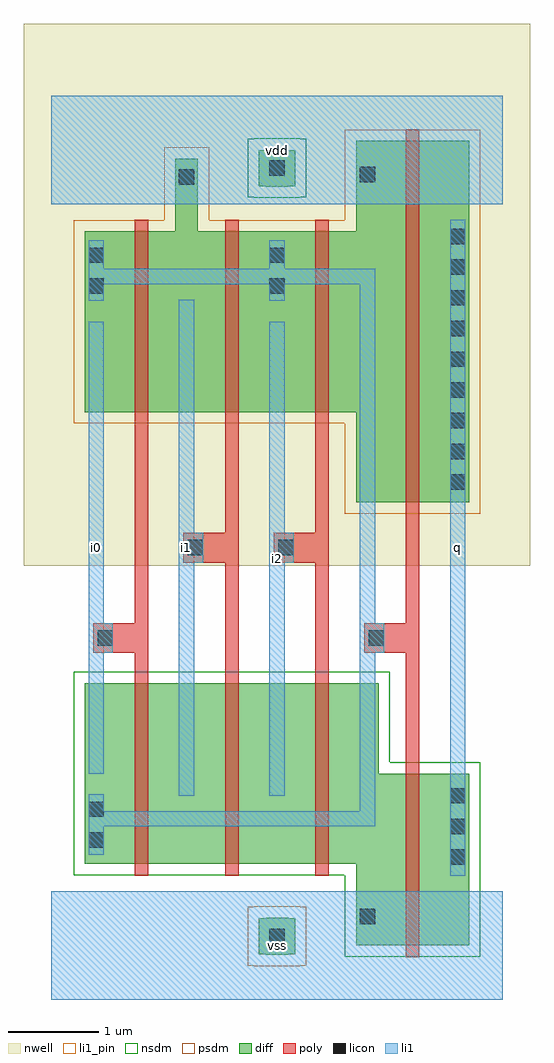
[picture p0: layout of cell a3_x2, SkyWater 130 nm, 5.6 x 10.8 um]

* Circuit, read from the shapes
.subckt a3_x2 i0 i1 i2 q vdd vss
XM1 n1 i0 n2 VSUBS sky130_fd_pr__nfet_01v8 w=2 l=0.15
XM2 n3 i1 n1 VSUBS sky130_fd_pr__nfet_01v8 w=2 l=0.15
XM3 vss i2 n3 VSUBS sky130_fd_pr__nfet_01v8 w=2 l=0.15
XM4 q n2 vss VSUBS sky130_fd_pr__nfet_01v8 w=1.9 l=0.15
XM5 vdd i0 n2 n4 sky130_fd_pr__pfet_01v8 w=2 l=0.15
XM6 n2 i1 vdd n4 sky130_fd_pr__pfet_01v8 w=2 l=0.15
XM7 vdd i2 n2 n4 sky130_fd_pr__pfet_01v8 w=2 l=0.15
XM8 q n2 vdd n4 sky130_fd_pr__pfet_01v8 w=4 l=0.15
.ends

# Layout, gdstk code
import gdstk
lib = gdstk.Library(unit=1e-6, precision=1e-09)
def R(c, l, rs):  # rectangles x0, y0, x1, y1
    for r in rs: c.add(gdstk.rectangle(r[:2], r[2:], *l))
def A(c, l, x, y, w, h, nx, ny, dx, dy):  # array of equal rectangles
    R(c, l, [(x+i*dx, y+j*dy, x+i*dx+w, y+j*dy+h) for i in range(nx) for j in range(ny)])
def P(c, l, *ps):  # polygons
    for p in ps: c.add(gdstk.Polygon(p, *l))
nwell = (64, 20)
diff = (65, 20)
poly = (66, 20)
licon = (66, 44)
li1_pin = (67, 16)
li1 = (67, 20)
nsdm = (93, 44)
psdm = (94, 20)

a3_x2 = lib.new_cell('a3_x2')
R(a3_x2, nwell, [(-0.3,4.8,5.3,10.8)])
P(a3_x2, diff, [(2.375,0.495),(2.375,0.5),(2.3,0.5),(2.3,0.9),(2.375,0.9),(2.375,0.905),(2.625,0.905),(2.625,0.9),(2.7,0.9),(2.7,0.5),(2.625,0.5),(2.625,0.495)],
  [(3.375,0.6),(3.375,1.5),(0.375,1.5),(0.375,3.5),(3.625,3.5),(3.625,2.5),(4.625,2.5),(4.625,0.6)],
  [(2.375,8.995),(2.375,9),(2.3,9),(2.3,9.4),(2.375,9.4),(2.375,9.405),(2.625,9.405),(2.625,9.4),(2.7,9.4),(2.7,9),(2.625,9),(2.625,8.995)],
  [(3.375,5.5),(3.375,6.5),(0.375,6.5),(0.375,8.5),(1.375,8.5),(1.375,9.305),(1.625,9.305),(1.625,8.5),(3.375,8.5),(3.375,9.5),(4.625,9.5),(4.625,5.5)])
P(a3_x2, poly, [(0.925,1.37),(0.925,3.835),(0.465,3.835),(0.465,4.165),(0.925,4.165),(0.925,8.63),(1.075,8.63),(1.075,1.37)],
  [(1.925,1.37),(1.925,4.835),(1.465,4.835),(1.465,5.165),(1.925,5.165),(1.925,8.63),(2.075,8.63),(2.075,1.37)],
  [(2.925,1.37),(2.925,4.835),(2.465,4.835),(2.465,5.165),(2.925,5.165),(2.925,8.63),(3.075,8.63),(3.075,1.37)],
  [(3.925,0.47),(3.925,3.835),(3.465,3.835),(3.465,4.165),(3.925,4.165),(3.925,9.63),(4.075,9.63),(4.075,0.47)])
A(a3_x2, licon, 4.415, 1.49, 0.17, 0.17, 1, 3, 0, 0.34)
A(a3_x2, licon, 4.415, 5.64, 0.17, 0.17, 1, 9, 0, 0.34)
R(a3_x2, licon, [(2.415,0.615,2.585,0.785), (3.415,0.835,3.585,1.005), (0.415,1.68,0.585,1.85), (0.415,2.02,0.585,2.19), (0.515,3.915,0.685,4.085), (3.515,3.915,3.685,4.085), (1.515,4.915,1.685,5.085), (2.515,4.915,2.685,5.085), (0.415,7.81,0.585,7.98), (2.415,7.81,2.585,7.98), (0.415,8.15,0.585,8.32), (2.415,8.15,2.585,8.32), (1.415,9.015,1.585,9.185), (3.415,9.045,3.585,9.215), (2.415,9.115,2.585,9.285)])
R(a3_x2, li1_pin, [(0,0,5,1.2), (4.415,1.37,4.585,8.63), (1.415,2.255,1.585,7.745), (2.415,2.255,2.585,7.5), (0.415,2.5,0.585,7.5), (0,8.8,5,10)])
R(a3_x2, li1, [(0,0,5,1.2), (4.415,1.37,4.585,8.63), (0,8.8,5,10)])
P(a3_x2, li1, [(0.415,2.5),(0.415,7.5),(0.585,7.5),(0.585,4.165),(0.685,4.165),(0.685,3.835),(0.585,3.835),(0.585,2.5)],
  [(2.415,2.255),(2.415,7.5),(2.585,7.5),(2.585,5.165),(2.685,5.165),(2.685,4.835),(2.585,4.835),(2.585,2.255)],
  [(1.415,2.255),(1.415,7.745),(1.585,7.745),(1.585,5.165),(1.685,5.165),(1.685,4.835),(1.585,4.835),(1.585,2.255)],
  [(0.415,1.6),(0.415,2.27),(0.585,2.27),(0.585,2.085),(3.415,2.085),(3.415,7.915),(2.585,7.915),(2.585,7.73),(2.415,7.73),(2.415,7.915),(0.585,7.915),(0.585,7.73),(0.415,7.73),(0.415,8.4),(0.585,8.4),(0.585,8.085),(2.415,8.085),(2.415,8.4),(2.585,8.4),(2.585,8.085),(3.585,8.085),(3.585,4.165),(3.685,4.165),(3.685,3.835),(3.585,3.835),(3.585,1.915),(0.585,1.915),(0.585,1.6)])
P(a3_x2, nsdm, [(3.25,0.475),(3.25,1.375),(0.25,1.375),(0.25,3.625),(3.75,3.625),(3.75,2.625),(4.75,2.625),(4.75,0.475)],
  [(2.25,8.87),(2.25,8.875),(2.175,8.875),(2.175,9.525),(2.25,9.525),(2.25,9.53),(2.75,9.53),(2.75,9.525),(2.825,9.525),(2.825,8.875),(2.75,8.875),(2.75,8.87)])
P(a3_x2, psdm, [(2.25,0.37),(2.25,0.375),(2.175,0.375),(2.175,1.025),(2.25,1.025),(2.25,1.03),(2.75,1.03),(2.75,1.025),(2.825,1.025),(2.825,0.375),(2.75,0.375),(2.75,0.37)],
  [(3.25,5.375),(3.25,6.375),(0.25,6.375),(0.25,8.625),(1.25,8.625),(1.25,9.43),(1.75,9.43),(1.75,8.625),(3.25,8.625),(3.25,9.625),(4.75,9.625),(4.75,5.375)])
a3_x2.add(gdstk.Label('vss', (2.5,0.6), layer=67, texttype=16))
a3_x2.add(gdstk.Label('q', (4.5,5), layer=67, texttype=16))
a3_x2.add(gdstk.Label('vdd', (2.5,9.4), layer=67, texttype=16))
a3_x2.add(gdstk.Label('i0', (0.5,5), layer=67, texttype=16))
a3_x2.add(gdstk.Label('i1', (1.5,5), layer=67, texttype=16))
a3_x2.add(gdstk.Label('i2', (2.5,4.877), layer=67, texttype=16))
a3_x2.add(gdstk.Label('vss', (2.5,0.6), layer=67, texttype=16))
a3_x2.add(gdstk.Label('q', (4.5,5), layer=67, texttype=16))
a3_x2.add(gdstk.Label('vdd', (2.5,9.4), layer=67, texttype=16))
a3_x2.add(gdstk.Label('i0', (0.5,5), layer=67, texttype=16))
a3_x2.add(gdstk.Label('i1', (1.5,5), layer=67, texttype=16))
a3_x2.add(gdstk.Label('i2', (2.5,4.877), layer=67, texttype=16))

lib.write_gds('a3_x2.gds')
